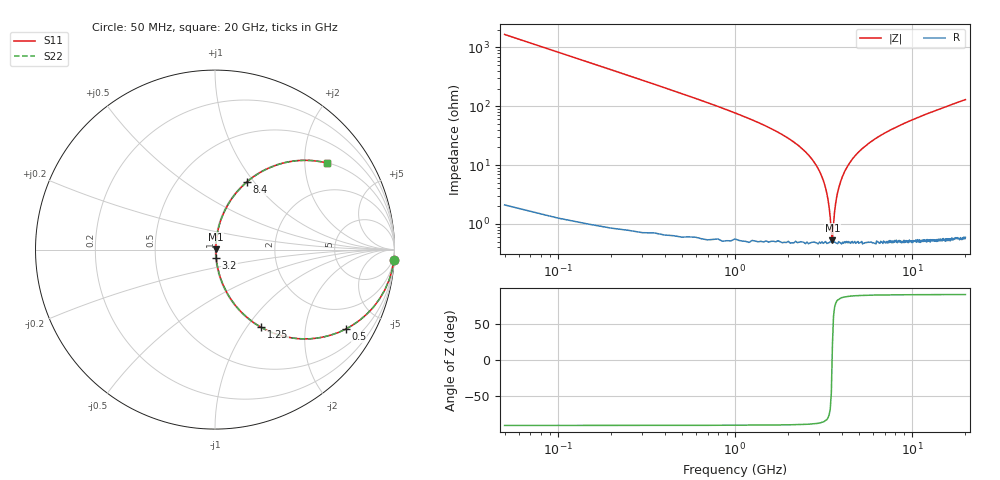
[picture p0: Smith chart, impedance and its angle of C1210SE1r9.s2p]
! AVX Thin Film Operation		Date: April 2012
! Description: Accu-P® Series, Thin Film, SMD, RF Capacitor
! Part Number: 12101J1R9PBTTR
!	100	MHz	-	20.05	GHz
!	Serial	Measurements
#	MHZ	S	MA	R	50
!	S11	S21	S12	S22
!	dB	Phase	dB	Phase	dB	Phase	dB	Phase
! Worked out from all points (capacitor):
!   400 points, 50 MHz to 20 GHz, reference 50 ohm
!   read as one part in series: C = 1.9 pF near 150 MHz
!   lowest |Z| = 523 mohm at 3.55 GHz (marker M1)
!   series resonance near 3.536 GHz, so ESL is about 1.1 nH
!   S11 on the Smith chart (normalised r, x): 50 MHz: 1, -33; 500 MHz: 1.01, -3.28; 1.25 GHz: 1.01, -1.17; 3.2 GHz: 1.01, -0.09; 8.4 GHz: 1.01, +0.92; 20 GHz: 1.01, +2.59
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50  0.998 -3.4  0.06 86.5  0.06 86.5  0.998 -3.4
100  0.993 -6.8  0.119 83.1  0.119 83.1  0.993 -6.8
200  0.972 -13.5  0.233 76.4  0.233 76.4  0.972 -13.5
500  0.853 -31.3  0.519 58.5  0.519 58.5  0.853 -31.3
1250  0.504 -59.2  0.859 30.3  0.859 30.3  0.504 -59.2
2500  0.165 -78.9  0.982 9.5  0.982 9.5  0.165 -78.9
2950  0.086 -81.9  0.992 4.9  0.992 4.9  0.086 -81.9
3200  0.047 -81.5  0.994 2.7  0.994 2.7  0.047 -81.5
3400  0.019 -74.6  0.995 1.1  0.995 1.1  0.019 -74.6
3450  0.013 -67.2  0.995 0.7  0.995 0.7  0.013 -67.2
3500  0.006798 -45.4  0.995 0.3  0.995 0.3  0.006798 -45.4
3550  0.005087 20.9  0.995 -0.1  0.995 -0.1  0.005087 20.9
3650  0.016 71.5  0.995 -0.9  0.995 -0.9  0.016 71.5
3800  0.034 80.1  0.995 -1.9  0.995 -1.9  0.034 80.1
4300  0.093 81.8  0.991 -5.3  0.991 -5.3  0.093 81.8
5150  0.179 78.2  0.979 -10.3  0.979 -10.3  0.179 78.2
6700  0.307 71.3  0.947 -17.9  0.947 -17.9  0.307 71.3
8400  0.418 64.7  0.904 -24.7  0.904 -24.7  0.418 64.7
10050  0.506 59.1  0.858 -30.4  0.858 -30.4  0.506 59.1
13350  0.637 50.0  0.767 -39.6  0.767 -39.6  0.637 50.0
16700  0.728 43.0  0.682 -46.7  0.682 -46.7  0.728 43.0
20000  0.79 37.5  0.609 -52.2  0.609 -52.2  0.79 37.5
